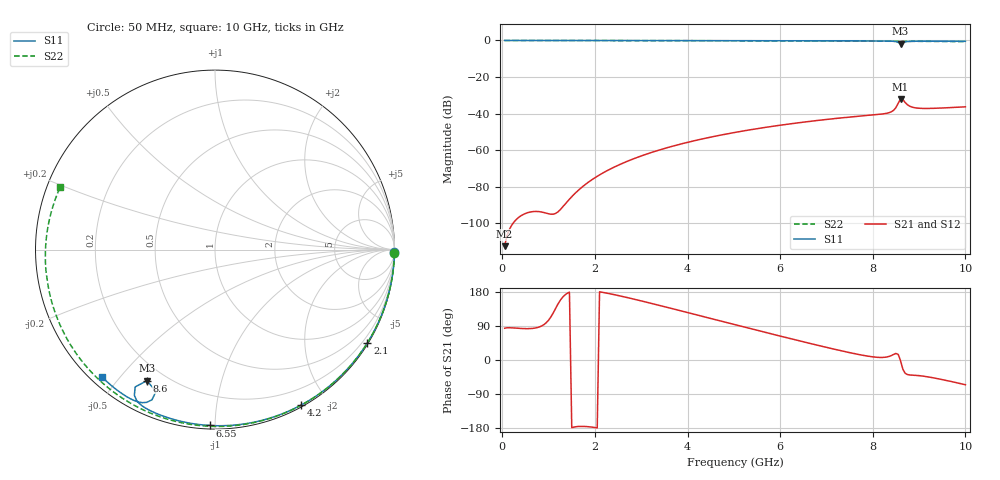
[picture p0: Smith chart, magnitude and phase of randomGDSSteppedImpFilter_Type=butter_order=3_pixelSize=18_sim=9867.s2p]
! freq	dB(S11)	phase(S11)	dB(S12)	phase(S12)
!  dB(S21)	phase(S21)	dB(S22)	phase(S22)
!S-par simulation data
#  GHz  S  DB  R 50
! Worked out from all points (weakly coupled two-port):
!   200 points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, 50 MHz to 10 GHz, reference 50 ohm
!   highest |S21| = -32.00 dB at 8.6 GHz (marker M1); lowest = -112.6 dB at 50 MHz (marker M2)
!   lowest |S11| = -1.7 dB at 8.6 GHz (marker M3), VSWR 10.30, Z = 6.62 - j30 ohm
!   |S11| at or under -10 dB: nowhere
!   |S22| runs from -0.6 to 0.0 dB; largest |S21 - S12| = 0
!   S11 on the Smith chart (normalised r, x): 50 MHz: open; 2.1 GHz: 0.03, -3.55; 4.2 GHz: 0.02, -1.69; 6.55 GHz: 0.02, -0.97; 8.6 GHz: 0.13, -0.60; 10 GHz: 0.03, -0.45
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0.05  -0.00 -0.8  -112.59 83.8  -112.59 83.8  -0.00 -1.1
0.85  -0.01 -12.9  -93.91 89.8  -93.91 89.8  -0.02 -18.7
1.75  -0.03 -26.3  -79.67 -175.2  -79.67 -175.2  -0.05 -38.0
2.1  -0.04 -31.4  -73.58 179.9  -73.58 179.9  -0.06 -45.4
2.7  -0.05 -40.1  -66.12 164.7  -66.12 164.7  -0.07 -57.8
3.4  -0.07 -50.1  -59.89 143.9  -59.89 143.9  -0.10 -71.9
4.2  -0.09 -61.1  -54.57 119.0  -54.57 119.0  -0.12 -87.6
5.05  -0.11 -72.5  -50.21 92.5  -50.21 92.5  -0.16 -103.8
5.8  -0.14 -82.2  -47.13 69.3  -47.13 69.3  -0.20 -117.8
6.55  -0.17 -91.7  -44.57 46.5  -44.57 46.5  -0.25 -131.7
6.7  -0.18 -93.6  -44.11 42.1  -44.11 42.1  -0.26 -134.5
7.55  -0.23 -104.1  -41.81 18.1  -41.81 18.1  -0.34 -150.5
8.35  -0.35 -115.2  -39.55 9.4  -39.55 9.4  -0.42 -166.1
8.45  -0.48 -117.5  -38.22 14.7  -38.22 14.7  -0.44 -168.1
8.5  -0.65 -118.9  -36.73 17.3  -36.73 17.3  -0.44 -169.1
8.55  -1.06 -120.2  -34.32 14.7  -34.32 14.7  -0.45 -170.1
8.6  -1.69 -117.5  -32.00 -2.1  -32.00 -2.1  -0.45 -171.1
8.65  -1.35 -112.6  -32.35 -24.5  -32.35 -24.5  -0.45 -172.1
8.7  -0.84 -112.8  -33.97 -35.1  -33.97 -35.1  -0.45 -173.2
8.8  -0.51 -115.3  -36.00 -39.5  -36.00 -39.5  -0.47 -175.3
8.95  -0.41 -118.1  -36.99 -40.7  -36.99 -40.7  -0.49 -178.4
10  -0.46 -131.4  -36.33 -65.3  -36.33 -65.3  -0.63 158.0
